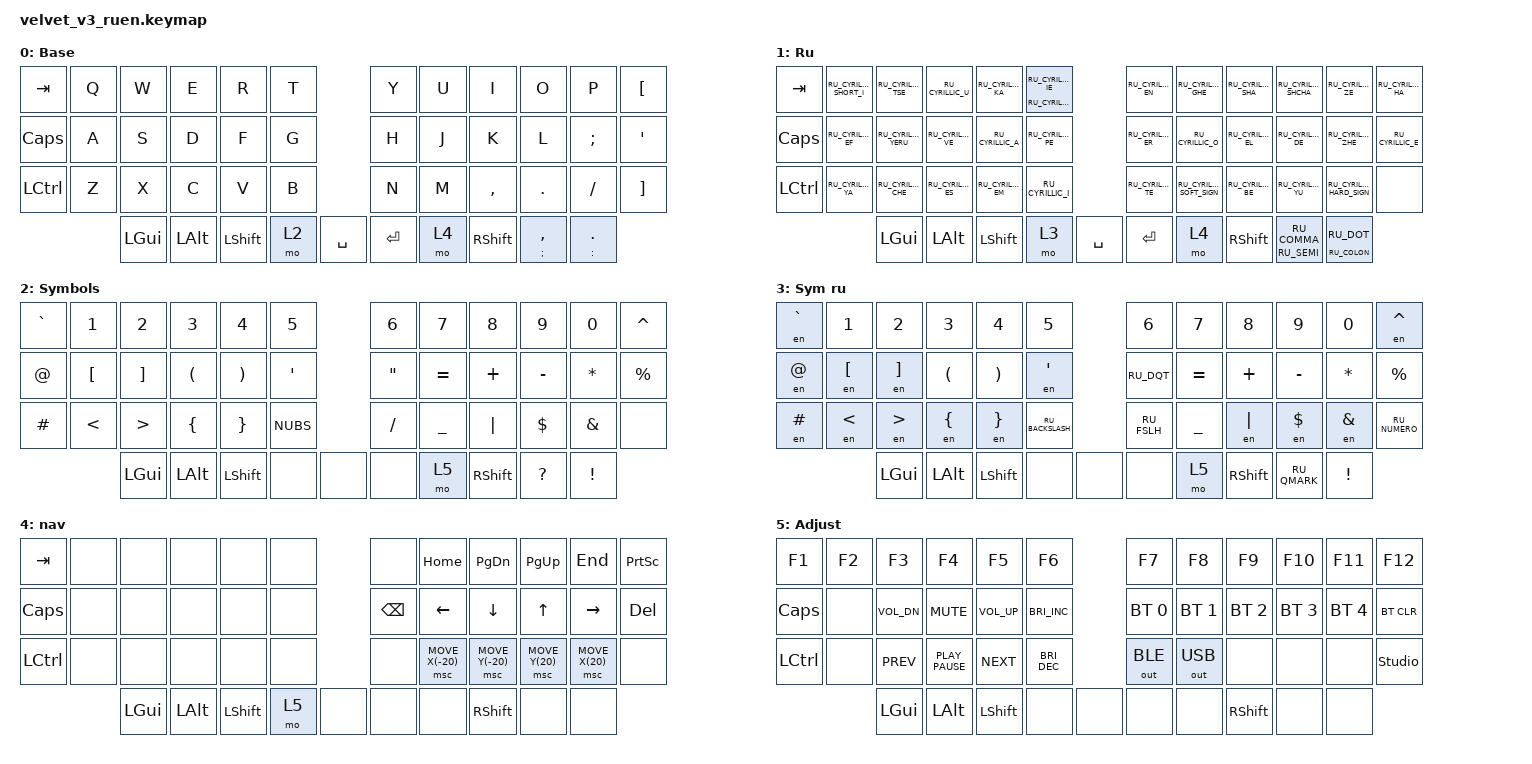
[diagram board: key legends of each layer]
#include "keys_ru.h"
#include <behaviors.dtsi>
#include <dt-bindings/zmk/bt.h>
#include <dt-bindings/zmk/keys.h>
#include <dt-bindings/zmk/outputs.h>
#include <dt-bindings/zmk/pointing.h>

/ {
    combos {
        compatible = "zmk,combos";

        cmben {
            bindings = <&layer_en>;
            key-positions = <3 4>;
            layers = <1>;
        };

        cmbru {
            bindings = <&layer_ru>;
            key-positions = <3 4>;
            layers = <0>;
        };

        Esc {
            bindings = <&kp ESC>;
            key-positions = <0 12>;
        };
    };

    macros {
        to_ru: to_ru {
            compatible = "zmk,behavior-macro";
            #binding-cells = <0>;
            bindings = <&kp LS(LC(N2))>;
            label = "TO_RU";
            wait-ms = <0>;
            tap-ms = <30>;
        };

        to_en: to_en {
            compatible = "zmk,behavior-macro";
            #binding-cells = <0>;
            bindings = <&kp LS(LC(N1))>;
            label = "TO_EN";
            wait-ms = <0>;
            tap-ms = <30>;
        };

        layer_en: layer_en {
            compatible = "zmk,behavior-macro";
            #binding-cells = <0>;
            bindings = <&to 0 &to_en>;
            label = "LAYER_EN";
            wait-ms = <0>;
            tap-ms = <30>;
        };

        layer_ru: layer_ru {
            compatible = "zmk,behavior-macro";
            #binding-cells = <0>;
            bindings = <&to 1 &to_ru>;
            label = "LAYER_RU";
            tap-ms = <30>;
            wait-ms = <0>;
        };

        en: en {
            compatible = "zmk,behavior-macro-one-param";
            #binding-cells = <1>;
            bindings =
                <&to_en>,
                <&macro_press>,
                <&macro_param_1to1 &kp MACRO_PLACEHOLDER>,
                <&macro_pause_for_release>,
                <&macro_release>,
                <&macro_param_1to1 &kp MACRO_PLACEHOLDER>,
                <&macro_tap>,
                <&to_ru>;

            label = "EN";
            wait-ms = <0>;
            tap-ms = <30>;
        };
    };

    keymap {
        compatible = "zmk,keymap";

        en {
            bindings = <
&kp TAB    &kp Q  &kp W         &kp E         &kp R           &kp T                          &kp Y  &kp U            &kp I           &kp O          &kp P     &kp LBKT
&kp CAPS   &kp A  &kp S         &kp D         &kp F           &kp G                          &kp H  &kp J            &kp K           &kp L          &kp SEMI  &kp APOS
&kp LCTRL  &kp Z  &kp X         &kp C         &kp V           &kp B                          &kp N  &kp M            &kp COMMA       &kp DOT        &kp FSLH  &kp RBKT
                  &kp LEFT_GUI  &kp LEFT_ALT  &kp LEFT_SHIFT  &mo 2  &kp SPACE    &kp ENTER  &mo 4  &kp RIGHT_SHIFT  &mt SEMI COMMA  &mt COLON DOT
            >;

            display-name = "Base";
        };

        ru {
            display-name = "Ru";
            bindings = <
&kp TAB    &kp RU_CYRILLIC_SHORT_I  &kp RU_CYRILLIC_TSE   &kp RU_CYRILLIC_U   &kp RU_CYRILLIC_KA  &mt RU_CYRILLIC_IO RU_CYRILLIC_IE                          &kp RU_CYRILLIC_EN  &kp RU_CYRILLIC_GHE        &kp RU_CYRILLIC_SHA   &kp RU_CYRILLIC_SHCHA  &kp RU_CYRILLIC_ZE         &kp RU_CYRILLIC_HA
&kp CAPS   &kp RU_CYRILLIC_EF       &kp RU_CYRILLIC_YERU  &kp RU_CYRILLIC_VE  &kp RU_CYRILLIC_A   &kp RU_CYRILLIC_PE                                         &kp RU_CYRILLIC_ER  &kp RU_CYRILLIC_O          &kp RU_CYRILLIC_EL    &kp RU_CYRILLIC_DE     &kp RU_CYRILLIC_ZHE        &kp RU_CYRILLIC_E
&kp LCTRL  &kp RU_CYRILLIC_YA       &kp RU_CYRILLIC_CHE   &kp RU_CYRILLIC_ES  &kp RU_CYRILLIC_EM  &kp RU_CYRILLIC_I                                          &kp RU_CYRILLIC_TE  &kp RU_CYRILLIC_SOFT_SIGN  &kp RU_CYRILLIC_BE    &kp RU_CYRILLIC_YU     &kp RU_CYRILLIC_HARD_SIGN  &none
                                    &kp LEFT_GUI          &kp LEFT_ALT        &kp LEFT_SHIFT      &mo 3                              &kp SPACE    &kp ENTER  &mo 4               &kp RIGHT_SHIFT            &mt RU_SEMI RU_COMMA  &mt RU_COLON RU_DOT
            >;
        };

        sym_en {
            bindings = <
&kp GRAVE  &kp N1    &kp N2        &kp N3        &kp N4          &kp N5                    &kp N6    &kp N7           &kp N8     &kp N9      &kp N0         &kp CARET
&kp AT     &kp LBKT  &kp RBKT      &kp LPAR      &kp RPAR        &kp SQT                   &kp DQT   &kp EQUAL        &kp PLUS   &kp MINUS   &kp ASTRK      &kp PRCNT
&kp HASH   &kp LT    &kp GT        &kp LBRC      &kp RBRC        &kp NUBS                  &kp FSLH  &kp UNDER        &kp PIPE   &kp DOLLAR  &kp AMPERSAND  &none
                     &kp LEFT_GUI  &kp LEFT_ALT  &kp LEFT_SHIFT  &none     &none    &none  &mo 5     &kp RIGHT_SHIFT  &kp QMARK  &kp EXCL
            >;

            display-name = "Symbols";
        };

        sym_ru {
            display-name = "Sym ru";
            bindings = <
&en GRAVE    &kp N1    &kp N2        &kp N3        &kp N4          &kp N5                            &kp N6       &kp N7           &kp N8        &kp N9      &kp N0         &en CARET
&en AT_SIGN  &en LBKT  &en RBKT      &kp LPAR      &kp RPAR        &en SQT                           &kp RU_DQT   &kp EQUAL        &kp PLUS      &kp MINUS   &kp ASTRK      &kp PRCNT
&en HASH     &en LT    &en GT        &en LBRC      &en RBRC        &kp RU_BACKSLASH                  &kp RU_FSLH  &kp UNDER        &en PIPE      &en DOLLAR  &en AMPERSAND  &kp RU_NUMERO
                       &kp LEFT_GUI  &kp LEFT_ALT  &kp LEFT_SHIFT  &none             &none    &none  &mo 5        &kp RIGHT_SHIFT  &kp RU_QMARK  &kp EXCL
            >;
        };

        nav {
            bindings = <
&kp TAB       &none  &none         &none         &none           &none                  &none          &kp HOME          &kp PAGE_DOWN     &kp PAGE_UP      &kp END          &kp PRINTSCREEN
&kp CAPSLOCK  &none  &none         &none         &none           &none                  &kp BACKSPACE  &kp LEFT          &kp DOWN          &kp UP           &kp RIGHT        &kp DELETE
&kp LCTRL     &none  &none         &none         &none           &none                  &none          &msc MOVE_X(-20)  &msc MOVE_Y(-20)  &msc MOVE_Y(20)  &msc MOVE_X(20)  &none
                     &kp LEFT_GUI  &kp LEFT_ALT  &kp LEFT_SHIFT  &mo 5  &none    &none  &none          &kp RIGHT_SHIFT   &none             &none
            >;

            display-name = "nav";
            label = "Navigation";
        };

        adj {
            bindings = <
&kp F1     &kp F2  &kp F3        &kp F4            &kp F5          &kp F6                                &kp F7        &kp F8           &kp F9        &kp F10       &kp F11       &kp F12
&kp CAPS   &none   &kp C_VOL_DN  &kp C_MUTE        &kp C_VOL_UP    &kp C_BRIGHTNESS_INC                  &bt BT_SEL 0  &bt BT_SEL 1     &bt BT_SEL 2  &bt BT_SEL 3  &bt BT_SEL 4  &bt BT_CLR
&kp LCTRL  &none   &kp K_PREV    &kp K_PLAY_PAUSE  &kp K_NEXT      &kp C_BRIGHTNESS_DEC                  &out OUT_BLE  &out OUT_USB     &none         &none         &none         &studio_unlock
                   &kp LEFT_GUI  &kp LEFT_ALT      &kp LEFT_SHIFT  &none                 &none    &none  &none         &kp RIGHT_SHIFT  &none         &none
            >;

            display-name = "Adjust";
        };
    };
};
